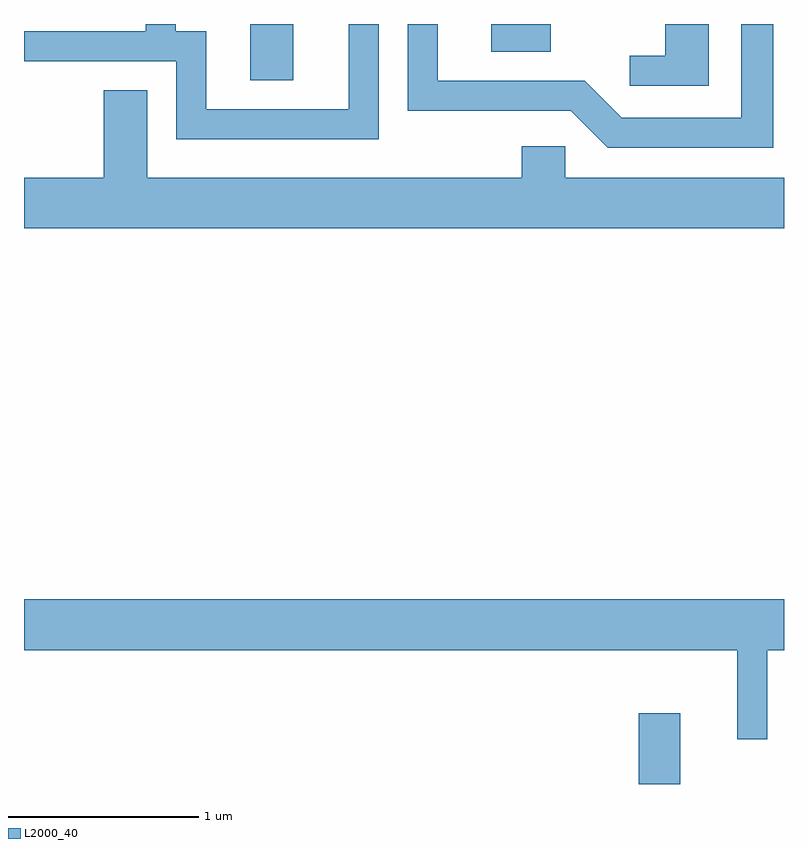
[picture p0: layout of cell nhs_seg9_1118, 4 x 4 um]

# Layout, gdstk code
import gdstk
lib = gdstk.Library(unit=1e-6, precision=1e-09)
def R(c, l, rs):  # rectangles x0, y0, x1, y1
    for r in rs: c.add(gdstk.rectangle(r[:2], r[2:], *l))
def P(c, l, *ps):  # polygons
    for p in ps: c.add(gdstk.Polygon(p, *l))
L2000_40 = (2000, 40)

nhs_seg9_1118 = lib.new_cell('nhs_seg9_1118')
R(nhs_seg9_1118, L2000_40, [(220.846,2004.432,221.064,2004.804), (218.801,2008.136,219.029,2008.432), (220.071,2008.286,220.384,2008.432)])
P(nhs_seg9_1118, L2000_40, [(221.214,2008.432),(220.986,2008.432),(220.986,2008.264),(220.798,2008.264),(220.798,2008.106),(221.214,2008.106)],
  [(221.554,2008.432),(221.386,2008.432),(221.386,2007.939),(220.757,2007.939),(220.562,2008.134),(219.789,2008.134),(219.789,2008.432),(219.631,2008.432),(219.631,2007.976),(220.489,2007.976),(220.684,2007.781),(221.554,2007.781)],
  [(219.479,2008.432),(219.321,2008.432),(219.321,2007.984),(218.569,2007.984),(218.569,2008.394),(218.409,2008.394),(218.409,2008.432),(218.251,2008.432),(218.251,2008.394),(217.611,2008.394),(217.611,2008.236),(218.411,2008.236),(218.411,2007.826),(219.479,2007.826)],
  [(221.611,2007.624),(220.459,2007.624),(220.459,2007.789),(220.231,2007.789),(220.231,2007.624),(218.259,2007.624),(218.259,2008.084),(218.031,2008.084),(218.031,2007.624),(217.611,2007.624),(217.611,2007.356),(221.611,2007.356)],
  [(221.524,2005.136),(221.611,2005.136),(221.611,2005.404),(217.611,2005.404),(217.611,2005.136),(221.366,2005.136),(221.366,2004.668),(221.524,2004.668)])

lib.write_gds('nhs_seg9_1118.gds')
